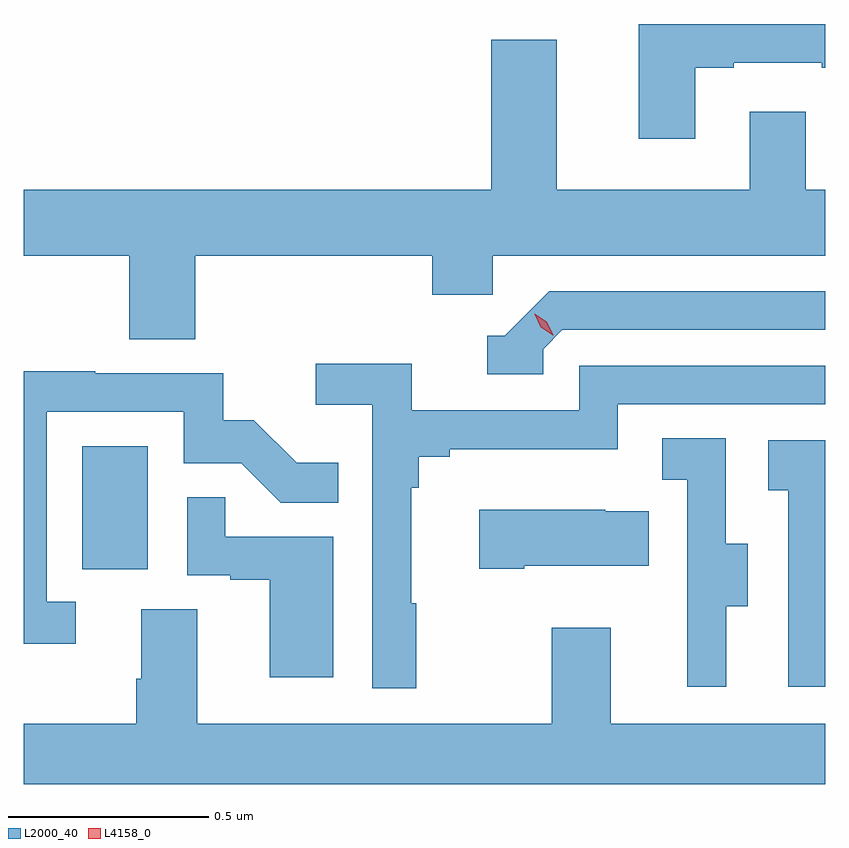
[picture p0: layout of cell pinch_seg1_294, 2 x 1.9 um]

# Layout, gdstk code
import gdstk
lib = gdstk.Library(unit=1e-6, precision=1e-09)
def R(c, l, rs):  # rectangles x0, y0, x1, y1
    for r in rs: c.add(gdstk.rectangle(r[:2], r[2:], *l))
def P(c, l, *ps):  # polygons
    for p in ps: c.add(gdstk.Polygon(p, *l))
L2000_40 = (2000, 40)
L4158_0 = (4158, 0)

pinch_seg1_294 = lib.new_cell('pinch_seg1_294')
R(pinch_seg1_294, L2000_40, [(907.244,548.286,907.408,548.593)])
P(pinch_seg1_294, L2000_40, [(908.773,549.537),(908.869,549.537),(908.869,549.549),(909.089,549.549),(909.089,549.537),(909.098,549.537),(909.098,549.646),(908.633,549.646),(908.633,549.36),(908.773,549.36)],
  [(907.526,549.068),(908.117,549.068),(908.117,548.97),(908.268,548.97),(908.268,549.068),(909.098,549.068),(909.098,549.232),(909.049,549.232),(909.049,549.427),(908.909,549.427),(908.909,549.232),(908.428,549.232),(908.428,549.607),(908.264,549.607),(908.264,549.232),(907.098,549.232),(907.098,549.068),(907.361,549.068),(907.361,548.86),(907.526,548.86)],
  [(908.394,548.835),(908.442,548.883),(909.098,548.883),(909.098,548.979),(908.409,548.979),(908.298,548.868),(908.255,548.868),(908.255,548.772),(908.394,548.772)],
  [(908.077,548.201),(908.065,548.201),(908.065,548.489),(908.084,548.489),(908.084,548.566),(908.161,548.566),(908.161,548.585),(908.58,548.585),(908.58,548.697),(909.098,548.697),(909.098,548.793),(908.484,548.793),(908.484,548.682),(908.066,548.682),(908.066,548.798),(907.827,548.798),(907.827,548.696),(907.968,548.696),(907.968,547.989),(908.077,547.989)],
  [(907.228,548.205),(907.155,548.205),(907.155,548.679),(907.497,548.679),(907.497,548.55),(907.641,548.55),(907.739,548.452),(907.883,548.452),(907.883,548.551),(907.779,548.551),(907.672,548.658),(907.596,548.658),(907.596,548.775),(907.277,548.775),(907.277,548.78),(907.098,548.78),(907.098,548.1),(907.228,548.1)],
  [(908.851,548.194),(908.905,548.194),(908.905,548.349),(908.85,548.349),(908.85,548.612),(908.691,548.612),(908.691,548.509),(908.754,548.509),(908.754,548.205),(908.753,548.205),(908.753,547.992),(908.851,547.992)],
  [(909.098,548.607),(908.955,548.607),(908.955,548.483),(909.006,548.483),(909.006,547.992),(909.098,547.992)],
  [(907.87,548.367),(907.601,548.367),(907.601,548.465),(907.506,548.465),(907.506,548.271),(907.613,548.271),(907.613,548.259),(907.712,548.259),(907.712,548.016),(907.87,548.016)],
  [(908.347,548.294),(908.657,548.294),(908.657,548.431),(908.549,548.431),(908.549,548.434),(908.235,548.434),(908.235,548.287),(908.347,548.287)],
  [(909.098,547.9),(908.563,547.9),(908.563,548.14),(908.416,548.14),(908.416,547.9),(907.531,547.9),(907.531,548.186),(907.391,548.186),(907.391,548.012),(907.379,548.012),(907.379,547.9),(907.098,547.9),(907.098,547.75),(909.098,547.75)])
P(pinch_seg1_294, L4158_0, [(908.418,548.87),(908.388,548.89),(908.373,548.922),(908.373,548.923),(908.373,548.923),(908.403,548.903),(908.419,548.87),(908.419,548.87)])

lib.write_gds('pinch_seg1_294.gds')
